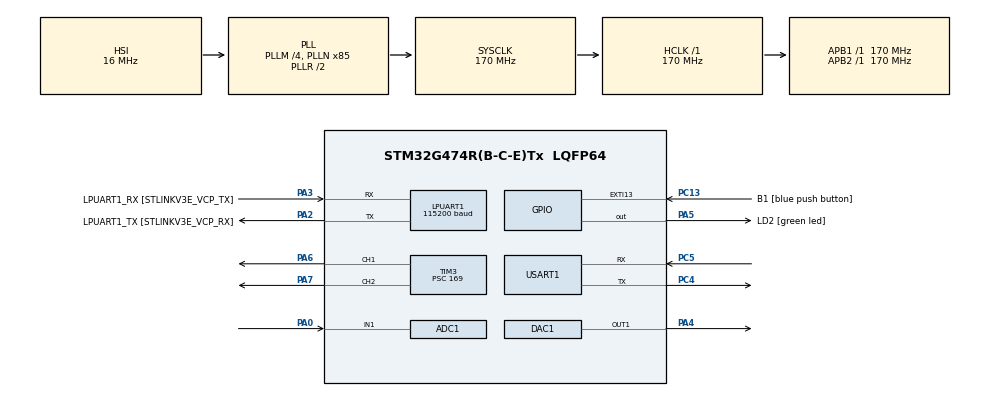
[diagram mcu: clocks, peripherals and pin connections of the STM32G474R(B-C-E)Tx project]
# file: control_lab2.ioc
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ADC1.Channel-0\#ChannelRegularConversion=ADC_CHANNEL_1
ADC1.ContinuousConvMode=ENABLE
ADC1.DMAContinuousRequests=ENABLE
ADC1.NbrOfConversion=1
ADC1.NbrOfConversionFlag=1
ADC1.OffsetNumber-0\#ChannelRegularConversion=ADC_OFFSET_NONE
ADC1.Rank-0\#ChannelRegularConversion=1
ADC1.SamplingTime-0\#ChannelRegularConversion=ADC_SAMPLETIME_2CYCLES_5
ADC1.master=1
Dma.ADC1.0.Direction=DMA_PERIPH_TO_MEMORY
Dma.ADC1.0.EventEnable=DISABLE
Dma.ADC1.0.Instance=DMA1_Channel1
Dma.ADC1.0.MemDataAlignment=DMA_MDATAALIGN_HALFWORD
Dma.ADC1.0.MemInc=DMA_MINC_ENABLE
Dma.ADC1.0.Mode=DMA_CIRCULAR
Dma.ADC1.0.PeriphDataAlignment=DMA_PDATAALIGN_HALFWORD
Dma.ADC1.0.PeriphInc=DMA_PINC_DISABLE
Dma.ADC1.0.Polarity=HAL_DMAMUX_REQ_GEN_RISING
Dma.ADC1.0.Priority=DMA_PRIORITY_LOW
Dma.ADC1.0.RequestNumber=1
Dma.ADC1.0.SignalID=NONE
Dma.ADC1.0.SyncEnable=DISABLE
Dma.ADC1.0.SyncPolarity=HAL_DMAMUX_SYNC_NO_EVENT
Dma.ADC1.0.SyncRequestNumber=1
Dma.ADC1.0.SyncSignalID=NONE
Dma.Request0=ADC1
LPUART1.BaudRate=115200
LPUART1.WordLength=UART_WORDLENGTH_8B
Mcu.Family=STM32G4
Mcu.Name=STM32G474R(B-C-E)Tx
Mcu.Package=LQFP64
NVIC.ADC1_2_IRQn=true\:0\:0\:false\:false\:true\:true\:true\:true
NVIC.DMA1_Channel1_IRQn=true\:0\:0\:false\:false\:true\:false\:true\:true
NVIC.EXTI15_10_IRQn=true\:0\:0\:false\:false\:true\:true\:true\:true
NVIC.PriorityGroup=NVIC_PRIORITYGROUP_4
NVIC.TIM2_IRQn=true\:0\:0\:false\:false\:true\:true\:true\:true
NVIC.USART1_IRQn=true\:0\:0\:false\:false\:true\:true\:true\:true
PA0.Mode=IN1-Single-Ended
PA0.Signal=ADC1_IN1
PA13.GPIO_Label=T_SWDIO
PA13.Mode=Serial_Wire
PA13.Signal=SYS_JTMS-SWDIO
PA14.GPIO_Label=T_SWCLK
PA14.Mode=Serial_Wire
PA14.Signal=SYS_JTCK-SWCLK
PA2.GPIO_Label=LPUART1_TX [STLINKV3E_VCP_RX]
PA2.Mode=Asynchronous
PA2.Signal=LPUART1_TX
PA3.GPIO_Label=LPUART1_RX [STLINKV3E_VCP_TX]
PA3.Mode=Asynchronous
PA3.Signal=LPUART1_RX
PA4.Signal=COMP_DAC11_group
PA5.GPIO_Label=LD2 [green led]
PA5.Signal=GPIO_Output
PA6.Signal=S_TIM3_CH1
PA7.Signal=S_TIM3_CH2
PB3.GPIO_Label=T_SWO
PB3.Signal=SYS_JTDO-SWO
PC13.GPIO_Label=B1 [blue push button]
PC13.Signal=GPXTI13
PC14-OSC32_IN.Mode=LSE-External-Oscillator
PC14-OSC32_IN.Signal=RCC_OSC32_IN
PC15-OSC32_OUT.Mode=LSE-External-Oscillator
PC15-OSC32_OUT.Signal=RCC_OSC32_OUT
PC4.Mode=Asynchronous
PC4.Signal=USART1_TX
PC5.Mode=Asynchronous
PC5.Signal=USART1_RX
PF0-OSC_IN.Mode=HSE-External-Oscillator
PF0-OSC_IN.Signal=RCC_OSC_IN
PF1-OSC_OUT.Mode=HSE-External-Oscillator
PF1-OSC_OUT.Signal=RCC_OSC_OUT
ProjectManager.HeapSize=0x200
ProjectManager.StackSize=0x400
ProjectManager.TargetToolchain=STM32CubeIDE
RCC.ADC12Freq_Value=170000000
RCC.ADC345Freq_Value=170000000
RCC.AHBFreq_Value=170000000
RCC.APB1Freq_Value=170000000
RCC.APB1TimFreq_Value=170000000
RCC.APB2Freq_Value=170000000
RCC.APB2TimFreq_Value=170000000
RCC.CortexFreq_Value=170000000
RCC.EXTERNAL_CLOCK_VALUE=12288000
RCC.HCLKFreq_Value=170000000
RCC.HSE_VALUE=24000000
RCC.HSI48_VALUE=48000000
RCC.HSI_VALUE=16000000
RCC.PLLM=RCC_PLLM_DIV4
RCC.PLLN=85
RCC.RTCClockSelection=RCC_RTCCLKSOURCE_LSE
RCC.SYSCLKFreq_VALUE=170000000
RCC.SYSCLKSource=RCC_SYSCLKSOURCE_PLLCLK
RCC.USBFreq_Value=170000000
RCC.VCOOutputFreq_Value=340000000
SH.COMP_DAC11_group.0=DAC1_OUT1,DAC_OUT1
SH.S_TIM3_CH1.0=TIM3_CH1,PWM Generation1 CH1
SH.S_TIM3_CH2.0=TIM3_CH2,PWM Generation2 CH2
TIM2.Prescaler=169
TIM3.Channel-PWM\ Generation1\ CH1=TIM_CHANNEL_1
TIM3.Channel-PWM\ Generation2\ CH2=TIM_CHANNEL_2
TIM3.PeriodNoDither=19999
TIM3.Prescaler=169
USART1.VirtualMode-Asynchronous=VM_ASYNC
VP_SYS_VS_DBSignals.Mode=DisableDeadBatterySignals
VP_TIM2_VS_ClockSourceINT.Mode=Internal
VP_TIM3_VS_ClockSourceINT.Mode=Internal
board=NUCLEO-G474RE

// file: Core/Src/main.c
/* USER CODE BEGIN Header */
/**
  ******************************************************************************
  * @file           : main.c
  * @brief          : Main program body
  ******************************************************************************
  * @attention
  *
  * Copyright (c) 2024 STMicroelectronics.
  * All rights reserved.
  *
  * This software is licensed under terms that can be found in the LICENSE file
  * in the root directory of this software component.
  * If no LICENSE file comes with this software, it is provided AS-IS.
  *
  ******************************************************************************
  */
/* USER CODE END Header */
#include "main.h"

/* USER CODE BEGIN Includes */
#include "math.h"
/* USER CODE END Includes */

ADC_HandleTypeDef hadc1;
DMA_HandleTypeDef hdma_adc1;

DAC_HandleTypeDef hdac1;

UART_HandleTypeDef hlpuart1;
UART_HandleTypeDef huart1;

TIM_HandleTypeDef htim2;
TIM_HandleTypeDef htim3;

/* USER CODE BEGIN PV */
uint16_t ADC_RawRead[10]={0};
uint64_t timestamp = 0;
uint64_t real_time;
uint64_t lower = 0;
uint64_t  avg_in = 0;
uint64_t  avg_in2 = 0;
float avg_v;
float input;
float num;
float den;
float input = 0;
float omega;
float omega_fi;
float omega_se;
float kt = 0.0692;
float J = 0.00030962;
float L = 0.027;
float R = 29.1;
float B = 0.000054367;
float ke = 0.072;
float T = 0.2;
float output;
uint64_t Dac_out;

/* USER CODE END PV */

void SystemClock_Config(void);
static void MX_GPIO_Init(void);
static void MX_DMA_Init(void);
static void MX_LPUART1_UART_Init(void);
static void MX_ADC1_Init(void);
static void MX_TIM3_Init(void);
static void MX_TIM2_Init(void);
static void MX_DAC1_Init(void);
static void MX_USART1_UART_Init(void);

int main(void)
{

  /* MCU Configuration--------------------------------------------------------*/

  /* Reset of all peripherals, Initializes the Flash interface and the Systick. */
  HAL_Init();

  /* Configure the system clock */
  SystemClock_Config();

  /* Initialize all configured peripherals */
  MX_GPIO_Init();
  MX_DMA_Init();
  MX_LPUART1_UART_Init();
  MX_ADC1_Init();
  MX_TIM3_Init();
  MX_TIM2_Init();
  MX_DAC1_Init();
  MX_USART1_UART_Init();
  /* USER CODE BEGIN 2 */
  HAL_ADCEx_Calibration_Start(&hadc1, ADC_SINGLE_ENDED);
  HAL_ADC_Start_DMA(&hadc1, ADC_RawRead, 10);
  HAL_TIM_Base_Start(&htim3);
  HAL_TIM_PWM_Start(&htim3, TIM_CHANNEL_1);
//  HAL_TIM_PWM_Start(&htim3, TIM_CHANNEL_2);
  HAL_DAC_Start(&hdac1, DAC_CHANNEL_1);
  HAL_TIM_Base_Start_IT(&htim2);
  /* USER CODE END 2 */

  /* Infinite loop */
  /* USER CODE BEGIN WHILE */
  void micro()
     {
    	  real_time = (__HAL_TIM_GET_COUNTER(&htim2) + ((lower - 1) * 4294967295)) / 100;

     }
//  long map(float x, long in_min, long in_max, long out_min, long out_max)
//  {
//  return (x - in_min) * (out_max - out_min) / (in_max - in_min) + out_min;
//  }

  while (1)
  {

    /* USER CODE END WHILE */

    /* USER CODE BEGIN 3 */
	  micro();
	  if (real_time - timestamp < 1000)
	  {
		  continue;
	  }
	  avg_in = 0;
	  for(int i=0;i <= 9 ;i ++)
	  {
		  avg_in += ADC_RawRead[i];
	  }
	  avg_in2 = avg_in /10;

	  avg_v = (avg_in2 *3.3)/4096.0;

	  input = (avg_v*12) /3.3;
	  num = (input * kt * pow(T,2)) + (omega_fi *((2*J*L) +(T*R*J)+(T*B*L)) - (omega_se * J*L));
	  den = (J*L) + (T*R*J) + (T*B*L) + (pow(T,2)*R*B)+ (pow(T,2)*kt*ke);

	  omega = num / den;
	  omega_se = omega_fi;
	  omega_fi = omega;

	  output =(omega /100) +1.65; //omega_to_volt
	  Dac_out = (output*4096) /3.3; //outputpassbroad
//	  __HAL_TIM_SET_COMPARE(&htim3, TIM_CHANNEL_1, Dac_out);
	  HAL_DAC_SetValue(&hdac1, DAC_CHANNEL_1, DAC_ALIGN_12B_R, Dac_out);

//	  num = (avg_in * (0.0692) *
	  micro();
	  timestamp = real_time;
  }
  /* USER CODE END 3 */
}

void SystemClock_Config(void)
{
  RCC_OscInitTypeDef RCC_OscInitStruct = {0};
  RCC_ClkInitTypeDef RCC_ClkInitStruct = {0};

  /** Configure the main internal regulator output voltage
  */
  HAL_PWREx_ControlVoltageScaling(PWR_REGULATOR_VOLTAGE_SCALE1_BOOST);

  /** Initializes the RCC Oscillators according to the specified parameters
  * in the RCC_OscInitTypeDef structure.
  */
  RCC_OscInitStruct.OscillatorType = RCC_OSCILLATORTYPE_HSI;
  RCC_OscInitStruct.HSIState = RCC_HSI_ON;
  RCC_OscInitStruct.HSICalibrationValue = RCC_HSICALIBRATION_DEFAULT;
  RCC_OscInitStruct.PLL.PLLState = RCC_PLL_ON;
  RCC_OscInitStruct.PLL.PLLSource = RCC_PLLSOURCE_HSI;
  RCC_OscInitStruct.PLL.PLLM = RCC_PLLM_DIV4;
  RCC_OscInitStruct.PLL.PLLN = 85;
  RCC_OscInitStruct.PLL.PLLP = RCC_PLLP_DIV2;
  RCC_OscInitStruct.PLL.PLLQ = RCC_PLLQ_DIV2;
  RCC_OscInitStruct.PLL.PLLR = RCC_PLLR_DIV2;
  if (HAL_RCC_OscConfig(&RCC_OscInitStruct) != HAL_OK)
  {
    Error_Handler();
  }

  /** Initializes the CPU, AHB and APB buses clocks
  */
  RCC_ClkInitStruct.ClockType = RCC_CLOCKTYPE_HCLK|RCC_CLOCKTYPE_SYSCLK
                              |RCC_CLOCKTYPE_PCLK1|RCC_CLOCKTYPE_PCLK2;
  RCC_ClkInitStruct.SYSCLKSource = RCC_SYSCLKSOURCE_PLLCLK;
  RCC_ClkInitStruct.AHBCLKDivider = RCC_SYSCLK_DIV1;
  RCC_ClkInitStruct.APB1CLKDivider = RCC_HCLK_DIV1;
  RCC_ClkInitStruct.APB2CLKDivider = RCC_HCLK_DIV1;

  if (HAL_RCC_ClockConfig(&RCC_ClkInitStruct, FLASH_LATENCY_4) != HAL_OK)
  {
    Error_Handler();
  }
}

static void MX_ADC1_Init(void)
{

  ADC_MultiModeTypeDef multimode = {0};
  ADC_ChannelConfTypeDef sConfig = {0};

  /** Common config
  */
  hadc1.Instance = ADC1;
  hadc1.Init.ClockPrescaler = ADC_CLOCK_SYNC_PCLK_DIV4;
  hadc1.Init.Resolution = ADC_RESOLUTION_12B;
  hadc1.Init.DataAlign = ADC_DATAALIGN_RIGHT;
  hadc1.Init.GainCompensation = 0;
  hadc1.Init.ScanConvMode = ADC_SCAN_DISABLE;
  hadc1.Init.EOCSelection = ADC_EOC_SINGLE_CONV;
  hadc1.Init.LowPowerAutoWait = DISABLE;
  hadc1.Init.ContinuousConvMode = ENABLE;
  hadc1.Init.NbrOfConversion = 1;
  hadc1.Init.DiscontinuousConvMode = DISABLE;
  hadc1.Init.ExternalTrigConv = ADC_SOFTWARE_START;
  hadc1.Init.ExternalTrigConvEdge = ADC_EXTERNALTRIGCONVEDGE_NONE;
  hadc1.Init.DMAContinuousRequests = ENABLE;
  hadc1.Init.Overrun = ADC_OVR_DATA_PRESERVED;
  hadc1.Init.OversamplingMode = DISABLE;
  if (HAL_ADC_Init(&hadc1) != HAL_OK)
  {
    Error_Handler();
  }

  /** Configure the ADC multi-mode
  */
  multimode.Mode = ADC_MODE_INDEPENDENT;
  if (HAL_ADCEx_MultiModeConfigChannel(&hadc1, &multimode) != HAL_OK)
  {
    Error_Handler();
  }

  /** Configure Regular Channel
  */
  sConfig.Channel = ADC_CHANNEL_1;
  sConfig.Rank = ADC_REGULAR_RANK_1;
  sConfig.SamplingTime = ADC_SAMPLETIME_2CYCLES_5;
  sConfig.SingleDiff = ADC_SINGLE_ENDED;
  sConfig.OffsetNumber = ADC_OFFSET_NONE;
  sConfig.Offset = 0;
  if (HAL_ADC_ConfigChannel(&hadc1, &sConfig) != HAL_OK)
  {
    Error_Handler();
  }

}

static void MX_DAC1_Init(void)
{

  DAC_ChannelConfTypeDef sConfig = {0};

  /** DAC Initialization
  */
  hdac1.Instance = DAC1;
  if (HAL_DAC_Init(&hdac1) != HAL_OK)
  {
    Error_Handler();
  }

  /** DAC channel OUT1 config
  */
  sConfig.DAC_HighFrequency = DAC_HIGH_FREQUENCY_INTERFACE_MODE_AUTOMATIC;
  sConfig.DAC_DMADoubleDataMode = DISABLE;
  sConfig.DAC_SignedFormat = DISABLE;
  sConfig.DAC_SampleAndHold = DAC_SAMPLEANDHOLD_DISABLE;
  sConfig.DAC_Trigger = DAC_TRIGGER_NONE;
  sConfig.DAC_Trigger2 = DAC_TRIGGER_NONE;
  sConfig.DAC_OutputBuffer = DAC_OUTPUTBUFFER_ENABLE;
  sConfig.DAC_ConnectOnChipPeripheral = DAC_CHIPCONNECT_EXTERNAL;
  sConfig.DAC_UserTrimming = DAC_TRIMMING_FACTORY;
  if (HAL_DAC_ConfigChannel(&hdac1, &sConfig, DAC_CHANNEL_1) != HAL_OK)
  {
    Error_Handler();
  }

}

static void MX_LPUART1_UART_Init(void)
{

  hlpuart1.Instance = LPUART1;
  hlpuart1.Init.BaudRate = 115200;
  hlpuart1.Init.WordLength = UART_WORDLENGTH_8B;
  hlpuart1.Init.StopBits = UART_STOPBITS_1;
  hlpuart1.Init.Parity = UART_PARITY_NONE;
  hlpuart1.Init.Mode = UART_MODE_TX_RX;
  hlpuart1.Init.HwFlowCtl = UART_HWCONTROL_NONE;
  hlpuart1.Init.OneBitSampling = UART_ONE_BIT_SAMPLE_DISABLE;
  hlpuart1.Init.ClockPrescaler = UART_PRESCALER_DIV1;
  hlpuart1.AdvancedInit.AdvFeatureInit = UART_ADVFEATURE_NO_INIT;
  if (HAL_UART_Init(&hlpuart1) != HAL_OK)
  {
    Error_Handler();
  }
  if (HAL_UARTEx_SetTxFifoThreshold(&hlpuart1, UART_TXFIFO_THRESHOLD_1_8) != HAL_OK)
  {
    Error_Handler();
  }
  if (HAL_UARTEx_SetRxFifoThreshold(&hlpuart1, UART_RXFIFO_THRESHOLD_1_8) != HAL_OK)
  {
    Error_Handler();
  }
  if (HAL_UARTEx_DisableFifoMode(&hlpuart1) != HAL_OK)
  {
    Error_Handler();
  }

}

static void MX_USART1_UART_Init(void)
{

  huart1.Instance = USART1;
  huart1.Init.BaudRate = 115200;
  huart1.Init.WordLength = UART_WORDLENGTH_8B;
  huart1.Init.StopBits = UART_STOPBITS_1;
  huart1.Init.Parity = UART_PARITY_NONE;
  huart1.Init.Mode = UART_MODE_TX_RX;
  huart1.Init.HwFlowCtl = UART_HWCONTROL_NONE;
  huart1.Init.OverSampling = UART_OVERSAMPLING_16;
  huart1.Init.OneBitSampling = UART_ONE_BIT_SAMPLE_DISABLE;
  huart1.Init.ClockPrescaler = UART_PRESCALER_DIV1;
  huart1.AdvancedInit.AdvFeatureInit = UART_ADVFEATURE_NO_INIT;
  if (HAL_UART_Init(&huart1) != HAL_OK)
  {
    Error_Handler();
  }
  if (HAL_UARTEx_SetTxFifoThreshold(&huart1, UART_TXFIFO_THRESHOLD_1_8) != HAL_OK)
  {
    Error_Handler();
  }
  if (HAL_UARTEx_SetRxFifoThreshold(&huart1, UART_RXFIFO_THRESHOLD_1_8) != HAL_OK)
  {
    Error_Handler();
  }
  if (HAL_UARTEx_DisableFifoMode(&huart1) != HAL_OK)
  {
    Error_Handler();
  }

}

static void MX_TIM2_Init(void)
{

  TIM_ClockConfigTypeDef sClockSourceConfig = {0};
  TIM_MasterConfigTypeDef sMasterConfig = {0};

  htim2.Instance = TIM2;
  htim2.Init.Prescaler = 169;
  htim2.Init.CounterMode = TIM_COUNTERMODE_UP;
  htim2.Init.Period = 4.294967295E9;
  htim2.Init.ClockDivision = TIM_CLOCKDIVISION_DIV1;
  htim2.Init.AutoReloadPreload = TIM_AUTORELOAD_PRELOAD_DISABLE;
  if (HAL_TIM_Base_Init(&htim2) != HAL_OK)
  {
    Error_Handler();
  }
  sClockSourceConfig.ClockSource = TIM_CLOCKSOURCE_INTERNAL;
  if (HAL_TIM_ConfigClockSource(&htim2, &sClockSourceConfig) != HAL_OK)
  {
    Error_Handler();
  }
  sMasterConfig.MasterOutputTrigger = TIM_TRGO_RESET;
  sMasterConfig.MasterSlaveMode = TIM_MASTERSLAVEMODE_DISABLE;
  if (HAL_TIMEx_MasterConfigSynchronization(&htim2, &sMasterConfig) != HAL_OK)
  {
    Error_Handler();
  }

}

static void MX_TIM3_Init(void)
{

  TIM_ClockConfigTypeDef sClockSourceConfig = {0};
  TIM_MasterConfigTypeDef sMasterConfig = {0};
  TIM_OC_InitTypeDef sConfigOC = {0};

  htim3.Instance = TIM3;
  htim3.Init.Prescaler = 169;
  htim3.Init.CounterMode = TIM_COUNTERMODE_UP;
  htim3.Init.Period = 19999;
  htim3.Init.ClockDivision = TIM_CLOCKDIVISION_DIV1;
  htim3.Init.AutoReloadPreload = TIM_AUTORELOAD_PRELOAD_DISABLE;
  if (HAL_TIM_Base_Init(&htim3) != HAL_OK)
  {
    Error_Handler();
  }
  sClockSourceConfig.ClockSource = TIM_CLOCKSOURCE_INTERNAL;
  if (HAL_TIM_ConfigClockSource(&htim3, &sClockSourceConfig) != HAL_OK)
  {
    Error_Handler();
  }
  if (HAL_TIM_PWM_Init(&htim3) != HAL_OK)
  {
    Error_Handler();
  }
  sMasterConfig.MasterOutputTrigger = TIM_TRGO_RESET;
  sMasterConfig.MasterSlaveMode = TIM_MASTERSLAVEMODE_DISABLE;
  if (HAL_TIMEx_MasterConfigSynchronization(&htim3, &sMasterConfig) != HAL_OK)
  {
    Error_Handler();
  }
  sConfigOC.OCMode = TIM_OCMODE_PWM1;
  sConfigOC.Pulse = 0;
  sConfigOC.OCPolarity = TIM_OCPOLARITY_HIGH;
  sConfigOC.OCFastMode = TIM_OCFAST_DISABLE;
  if (HAL_TIM_PWM_ConfigChannel(&htim3, &sConfigOC, TIM_CHANNEL_1) != HAL_OK)
  {
    Error_Handler();
  }
  if (HAL_TIM_PWM_ConfigChannel(&htim3, &sConfigOC, TIM_CHANNEL_2) != HAL_OK)
  {
    Error_Handler();
  }
  HAL_TIM_MspPostInit(&htim3);

}

static void MX_DMA_Init(void)
{

  /* DMA controller clock enable */
  __HAL_RCC_DMAMUX1_CLK_ENABLE();
  __HAL_RCC_DMA1_CLK_ENABLE();

  /* DMA interrupt init */
  /* DMA1_Channel1_IRQn interrupt configuration */
  HAL_NVIC_SetPriority(DMA1_Channel1_IRQn, 0, 0);
  HAL_NVIC_EnableIRQ(DMA1_Channel1_IRQn);

}

static void MX_GPIO_Init(void)
{
  GPIO_InitTypeDef GPIO_InitStruct = {0};

  /* GPIO Ports Clock Enable */
  __HAL_RCC_GPIOC_CLK_ENABLE();
  __HAL_RCC_GPIOF_CLK_ENABLE();
  __HAL_RCC_GPIOA_CLK_ENABLE();
  __HAL_RCC_GPIOB_CLK_ENABLE();

  /*Configure GPIO pin Output Level */
  HAL_GPIO_WritePin(LD2_GPIO_Port, LD2_Pin, GPIO_PIN_RESET);

  /*Configure GPIO pin : B1_Pin */
  GPIO_InitStruct.Pin = B1_Pin;
  GPIO_InitStruct.Mode = GPIO_MODE_IT_RISING;
  GPIO_InitStruct.Pull = GPIO_NOPULL;
  HAL_GPIO_Init(B1_GPIO_Port, &GPIO_InitStruct);

  /*Configure GPIO pin : LD2_Pin */
  GPIO_InitStruct.Pin = LD2_Pin;
  GPIO_InitStruct.Mode = GPIO_MODE_OUTPUT_PP;
  GPIO_InitStruct.Pull = GPIO_NOPULL;
  GPIO_InitStruct.Speed = GPIO_SPEED_FREQ_LOW;
  HAL_GPIO_Init(LD2_GPIO_Port, &GPIO_InitStruct);

  /* EXTI interrupt init*/
  HAL_NVIC_SetPriority(EXTI15_10_IRQn, 0, 0);
  HAL_NVIC_EnableIRQ(EXTI15_10_IRQn);

}

/* USER CODE BEGIN 4 */
void HAL_TIM_PeriodElapsedCallback(TIM_HandleTypeDef *htim)
{
if(htim == &htim2)
{
	lower += 1;
}
}
/* USER CODE END 4 */

void Error_Handler(void)
{
  __disable_irq();
  while (1)
  {
  }
}
